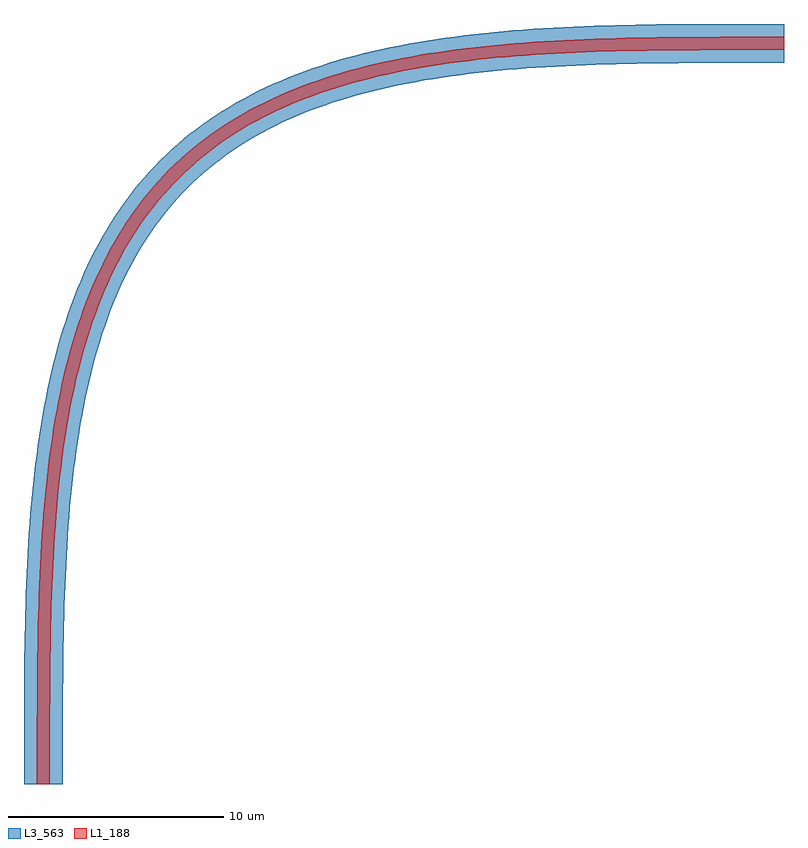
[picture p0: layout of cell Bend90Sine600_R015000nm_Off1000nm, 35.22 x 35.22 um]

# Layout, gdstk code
import gdstk
lib = gdstk.Library(unit=1e-6, precision=1e-09)
L1_188 = (1, 188)
L3_563 = (3, 563)

bend90sine600_r015000nm_ = lib.new_cell('Bend90Sine600_R015000nm_Off1000nm')
bend90sine600_r015000nm_.add(gdstk.FlexPath([(0,-34.322),(0,-33.322),(0,-32.832),(0,-32.342),(0.001,-31.852),(0.001,-31.363),(0.003,-30.874),(0.005,-30.386),(0.007,-29.899),(0.011,-29.413),(0.016,-28.927),(0.022,-28.443),(0.029,-27.96),(0.038,-27.479),(0.048,-26.999),(0.059,-26.521),(0.073,-26.044),(0.089,-25.57),(0.106,-25.097),(0.126,-24.627),(0.148,-24.159),(0.172,-23.694),(0.199,-23.231),(0.229,-22.77),(0.261,-22.312),(0.297,-21.858),(0.335,-21.406),(0.376,-20.957),(0.421,-20.512),(0.468,-20.069),(0.52,-19.631),(0.574,-19.195),(0.633,-18.764),(0.695,-18.336),(0.761,-17.911),(0.83,-17.491),(0.904,-17.075),(0.982,-16.663),(1.064,-16.255),(1.15,-15.851),(1.241,-15.452),(1.336,-15.057),(1.436,-14.667),(1.54,-14.281),(1.649,-13.9),(1.763,-13.523),(1.881,-13.152),(2.004,-12.785),(2.133,-12.423),(2.266,-12.066),(2.404,-11.715),(2.548,-11.368),(2.696,-11.027),(2.85,-10.691),(3.009,-10.36),(3.174,-10.034),(3.344,-9.714),(3.519,-9.399),(3.7,-9.09),(3.886,-8.786),(4.077,-8.488),(4.275,-8.195),(4.477,-7.908),(4.686,-7.626),(4.9,-7.35),(5.119,-7.08),(5.345,-6.815),(5.576,-6.556),(5.812,-6.302),(6.054,-6.054),(6.302,-5.812),(6.556,-5.576),(6.815,-5.345),(7.08,-5.119),(7.35,-4.9),(7.626,-4.686),(7.908,-4.477),(8.195,-4.275),(8.488,-4.077),(8.786,-3.886),(9.09,-3.7),(9.399,-3.519),(9.714,-3.344),(10.034,-3.174),(10.36,-3.009),(10.691,-2.85),(11.027,-2.696),(11.368,-2.548),(11.715,-2.404),(12.066,-2.266),(12.423,-2.133),(12.785,-2.004),(13.152,-1.881),(13.523,-1.763),(13.9,-1.649),(14.281,-1.54),(14.667,-1.436),(15.057,-1.336),(15.452,-1.241),(15.851,-1.15),(16.255,-1.064),(16.663,-0.982),(17.075,-0.904),(17.491,-0.83),(17.911,-0.761),(18.336,-0.695),(18.764,-0.633),(19.195,-0.574),(19.631,-0.52),(20.069,-0.468),(20.512,-0.421),(20.957,-0.376),(21.406,-0.335),(21.858,-0.297),(22.312,-0.261),(22.77,-0.229),(23.231,-0.199),(23.694,-0.172),(24.159,-0.148),(24.627,-0.126),(25.097,-0.106),(25.57,-0.089),(26.044,-0.073),(26.521,-0.059),(26.999,-0.048),(27.479,-0.038),(27.96,-0.029),(28.443,-0.022),(28.927,-0.016),(29.413,-0.011),(29.899,-0.007),(30.386,-0.005),(30.874,-0.003),(31.363,-0.001),(31.852,-0.001),(32.342,0),(32.832,0),(33.322,0),(34.322,0)], 0.6, ends="flush", simple_path=True, layer=1, datatype=188))  # L1_188
bend90sine600_r015000nm_.add(gdstk.FlexPath([(0,-34.322),(0,-33.322),(0,-32.832),(0,-32.342),(0.001,-31.852),(0.001,-31.363),(0.003,-30.874),(0.005,-30.386),(0.007,-29.899),(0.011,-29.413),(0.016,-28.927),(0.022,-28.443),(0.029,-27.96),(0.038,-27.479),(0.048,-26.999),(0.059,-26.521),(0.073,-26.044),(0.089,-25.57),(0.106,-25.097),(0.126,-24.627),(0.148,-24.159),(0.172,-23.694),(0.199,-23.231),(0.229,-22.77),(0.261,-22.312),(0.297,-21.858),(0.335,-21.406),(0.376,-20.957),(0.421,-20.512),(0.468,-20.069),(0.52,-19.631),(0.574,-19.195),(0.633,-18.764),(0.695,-18.336),(0.761,-17.911),(0.83,-17.491),(0.904,-17.075),(0.982,-16.663),(1.064,-16.255),(1.15,-15.851),(1.241,-15.452),(1.336,-15.057),(1.436,-14.667),(1.54,-14.281),(1.649,-13.9),(1.763,-13.523),(1.881,-13.152),(2.004,-12.785),(2.133,-12.423),(2.266,-12.066),(2.404,-11.715),(2.548,-11.368),(2.696,-11.027),(2.85,-10.691),(3.009,-10.36),(3.174,-10.034),(3.344,-9.714),(3.519,-9.399),(3.7,-9.09),(3.886,-8.786),(4.077,-8.488),(4.275,-8.195),(4.477,-7.908),(4.686,-7.626),(4.9,-7.35),(5.119,-7.08),(5.345,-6.815),(5.576,-6.556),(5.812,-6.302),(6.054,-6.054),(6.302,-5.812),(6.556,-5.576),(6.815,-5.345),(7.08,-5.119),(7.35,-4.9),(7.626,-4.686),(7.908,-4.477),(8.195,-4.275),(8.488,-4.077),(8.786,-3.886),(9.09,-3.7),(9.399,-3.519),(9.714,-3.344),(10.034,-3.174),(10.36,-3.009),(10.691,-2.85),(11.027,-2.696),(11.368,-2.548),(11.715,-2.404),(12.066,-2.266),(12.423,-2.133),(12.785,-2.004),(13.152,-1.881),(13.523,-1.763),(13.9,-1.649),(14.281,-1.54),(14.667,-1.436),(15.057,-1.336),(15.452,-1.241),(15.851,-1.15),(16.255,-1.064),(16.663,-0.982),(17.075,-0.904),(17.491,-0.83),(17.911,-0.761),(18.336,-0.695),(18.764,-0.633),(19.195,-0.574),(19.631,-0.52),(20.069,-0.468),(20.512,-0.421),(20.957,-0.376),(21.406,-0.335),(21.858,-0.297),(22.312,-0.261),(22.77,-0.229),(23.231,-0.199),(23.694,-0.172),(24.159,-0.148),(24.627,-0.126),(25.097,-0.106),(25.57,-0.089),(26.044,-0.073),(26.521,-0.059),(26.999,-0.048),(27.479,-0.038),(27.96,-0.029),(28.443,-0.022),(28.927,-0.016),(29.413,-0.011),(29.899,-0.007),(30.386,-0.005),(30.874,-0.003),(31.363,-0.001),(31.852,-0.001),(32.342,0),(32.832,0),(33.322,0),(34.322,0)], 1.8, ends="flush", simple_path=True, layer=3, datatype=563))  # L3_563

lib.write_gds('Bend90Sine600_R015000nm_Off1000nm.gds')
